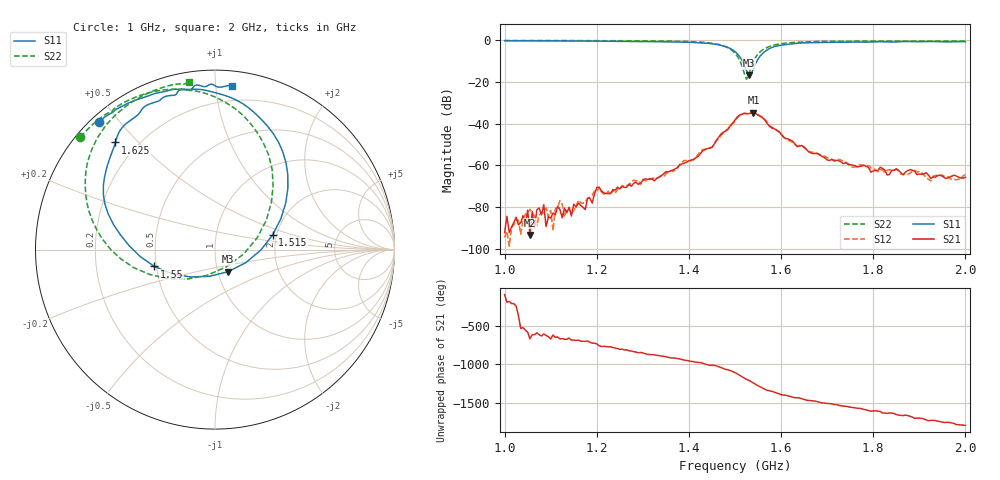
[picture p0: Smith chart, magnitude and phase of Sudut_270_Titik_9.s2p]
# Hz S RI R 50
! CMT, C1220, 16058040, 17.2.0/1
! Date: 14/08/2018 11:58:41
! Data: Format (Calibration Info)
! Freq  S11: Re/Im (F2)  S21: Re/Im (F2)  S12: Re/Im (F2)  S22: Re/Im (F2)
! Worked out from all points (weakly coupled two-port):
!   201 points, 1 GHz to 2 GHz, reference 50 ohm
!   highest |S21| = -34.69 dB at 1.54 GHz (marker M1); lowest = -93.3 dB at 1.055 GHz (marker M2)
!   lowest |S11| = -16.9 dB at 1.53 GHz (marker M3), VSWR 1.33, Z = 56 - j14.1 ohm
!   |S11| at or under -10 dB: 1.516 GHz to 1.548 GHz (31.91 MHz wide, 2.08 % of centre)
!   |S22| runs from -18.8 to -0.2 dB; largest |S21 - S12| = 0.00081
!   S11 on the Smith chart (normalised r, x): 1 GHz: 0.02, +0.44; 1.515 GHz: 1.90, +0.35; 1.55 GHz: 0.49, -0.10; 1.625 GHz: 0.12, +0.43; 2 GHz: 0.10, +1.10
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1e9  -0.6448 0.7123  -2.7e-06 -2.45e-05  -1.34e-05 -1.33e-05  -0.75 0.6269
1.055e9  -0.5945 0.7509  1.45e-05 1.62e-05  -6.58e-05 6.03e-05  -0.7116 0.6677
1.17e9  -0.4718 0.821  9.67e-05 2.78e-05  0.000124 6.1e-06  -0.6125 0.7519
1.18e9  -0.455 0.8279  0.000155 5.56e-05  0.000157 4.26e-05  -0.6012 0.7583
1.19e9  -0.4396 0.8337  0.000125 -1.63e-05  0.000187 4.4e-05  -0.5888 0.7641
1.2e9  -0.4289 0.8368  0.000282 -9.04e-05  0.000212 -0.000108  -0.5783 0.7655
1.23e9  -0.3917 0.8491  0.000122 -0.000175  6.33e-05 -0.000189  -0.5566 0.7887
1.335e9  -0.2143 0.893  -0.000516 -9.11e-05  -0.000515 -7.71e-05  -0.3957 0.866
1.45e9  0.1807 0.7947  0.00118 0.00242  0.00133 0.00239  0.0265 0.8376
1.5e9  0.4059 0.3409  0.0105 -0.00607  0.00987 -0.00578  0.3236 0.357
1.515e9  0.3211 0.0821  0.00175 -0.0167  0.00223 -0.0168  0.2344 0.0645
1.525e9  0.1713 -0.0731  -0.00831 -0.0151  -0.00825 -0.0153  0.0648 -0.0951
1.53e9  0.0727 -0.123  -0.0115 -0.0128  -0.0116 -0.013  -0.0425 -0.143
1.54e9  -0.1388 -0.1525  -0.0179 -0.00446  -0.0177 -0.00453  -0.2662 -0.1618
1.55e9  -0.3377 -0.0939  -0.0149 0.00597  -0.0151 0.00538  -0.4524 -0.1007
1.58e9  -0.6132 0.2533  0.00056 0.00786  0.000948 0.00818  -0.7025 0.2142
1.625e9  -0.5547 0.5969  0.00374 0.000682  0.00347 0.000722  -0.6989 0.5225
1.67e9  -0.442 0.7408  0.0015 -0.00119  0.00164 -0.00123  -0.6205 0.6747
1.835e9  -0.1459 0.8868  -0.000578 0.000176  -0.000735 0.000287  -0.3706 0.8729
1.88e9  -0.0924 0.9162  -0.000402 0.000683  -0.000367 0.000543  -0.3075 0.8982
1.925e9  -0.024 0.9216  0.000183 0.000457  0.000132 0.000405  -0.2451 0.9166
2e9  0.0935 0.9122  0.000519 2.15e-05  0.0006 5.62e-07  -0.1467 0.9311
